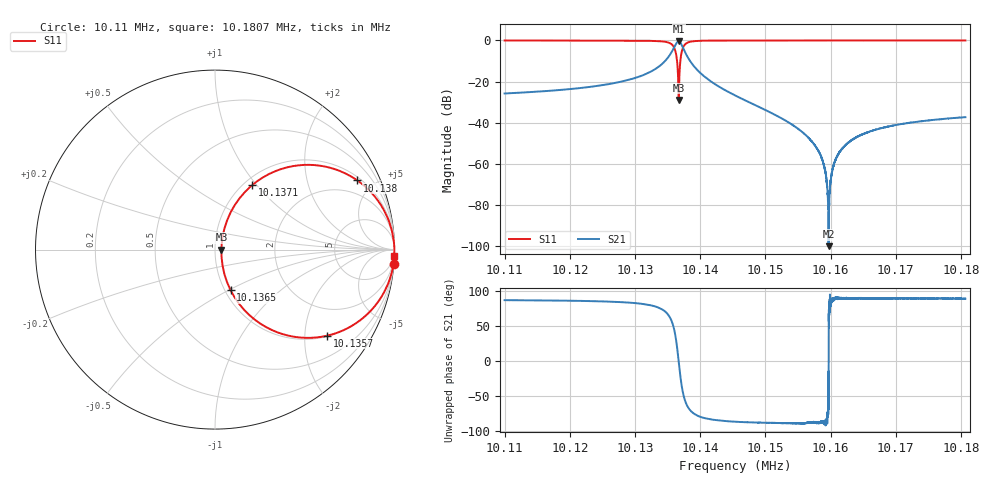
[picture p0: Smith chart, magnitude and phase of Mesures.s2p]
# HZ S RI R 50
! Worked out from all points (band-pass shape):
!   7070 points, 10.11 MHz to 10.1807 MHz, reference 50 ohm
!   highest |S21| = -0.39 dB at 10.1367 MHz (marker M1); lowest = -100.1 dB at 10.1597 MHz (marker M2)
!   |S21| within 3 dB of the highest: 10.13601 MHz to 10.13734 MHz (1.332 kHz wide, 0.0131 % of centre)
!   lowest |S11| = -29.0 dB at 10.1367 MHz (marker M3), VSWR 1.07, Z = 53.7 + j0.0353 ohm
!   |S11| at or under -10 dB: 10.13645 MHz to 10.13696 MHz (504.2 Hz wide, 0.00497 % of centre)
!   S12 and S22 are empty: the file has one direction only
!   S11 on the Smith chart (normalised r, x): 10.11 MHz: 1, -25; 10.1357 MHz: 1.02, -2.59; 10.1365 MHz: 1.06, -0.51; 10.1371 MHz: 1.09, +0.95; 10.138 MHz: 1.16, +4.03; 10.1807 MHz: 1, -56
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1.011e7  0.9946 -0.0786  0.00262 0.0511  0 0  0 0
1.012179e7  0.991 -0.1  0.00487 0.0699  0 0  0 0
1.012917e7  0.9798 -0.1464  0.0127 0.1108  0 0  0 0
1.013357e7  0.9261 -0.2652  0.0524 0.219  0 0  0 0
1.013569e7  0.6254 -0.4796  0.3083 0.4483  0 0  0 0
1.013616e7  0.3466 -0.4605  0.5901 0.4662  0 0  0 0
1.013652e7  0.0866 -0.2258  0.8941 0.2366  0 0  0 0
1.013669e7  0.0357 -0.0249  0.9558 0.0109  0 0  0 0
1.013671e7  0.0356 0.000328  0.9555 -0.0178  0 0  0 0
1.013705e7  0.2077 0.3596  0.7414 -0.3974  0 0  0 0
1.013738e7  0.4806 0.4709  0.4527 -0.4759  0 0  0 0
1.013805e7  0.7932 0.3853  0.1705 -0.3644  0 0  0 0
1.014069e7  0.9787 0.1294  0.0184 -0.1296  0 0  0 0
1.014535e7  0.9975 0.0331  0.00239 -0.046  0 0  0 0
1.01534e7  0.9994 -0.00792  0.000169 -0.0105  0 0  0 0
1.015713e7  0.9993 -0.0159  0.000129 -0.00346  0 0  0 0
1.015873e7  0.9994 -0.0185  6.79e-05 -0.0013  0 0  0 0
1.01597e7  0.9994 -0.02  9.52e-06 -2.51e-06  0 0  0 0
1.016064e7  0.9993 -0.0211  -1e-05 0.00112  0 0  0 0
1.016198e7  0.9993 -0.0229  8.57e-06 0.00254  0 0  0 0
1.016891e7  0.999 -0.0292  9.86e-05 0.00811  0 0  0 0
1.018069e7  0.9987 -0.0356  0.000181 0.0136  0 0  0 0
